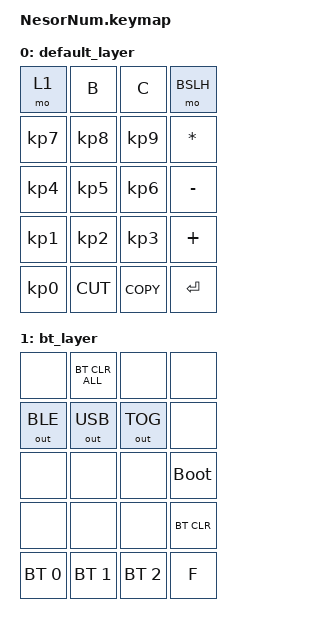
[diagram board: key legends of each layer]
#include <behaviors.dtsi>
#include <dt-bindings/zmk/keys.h>
#include <dt-bindings/zmk/bt.h>
#include <dt-bindings/zmk/outputs.h>

/ {
    keymap 
    {
        compatible = "zmk,keymap";

        default_layer {
            bindings = <
            &mo 1        &kp B        &kp C        &mo BSLH
            &kp KP_N7    &kp KP_N8    &kp KP_N9    &kp STAR
            &kp KP_N4    &kp KP_N5    &kp KP_N6    &kp MINUS
            &kp KP_N1    &kp KP_N2    &kp KP_N3    &kp PLUS
            &kp KP_N0    &kp K_CUT    &kp K_COPY   &kp RET
            >;
        };

        bt_layer {
            bindings = <
            &none           &bt BT_CLR_ALL  &none           &none
            &out OUT_BLE    &out OUT_USB    &out OUT_TOG     &none
            &none           &none           &none           &bootloader
            &none           &none           &none           &bt BT_CLR
            &bt BT_SEL 0    &bt BT_SEL 1    &bt BT_SEL 2    &kp F
            >;
        };
    };
};
